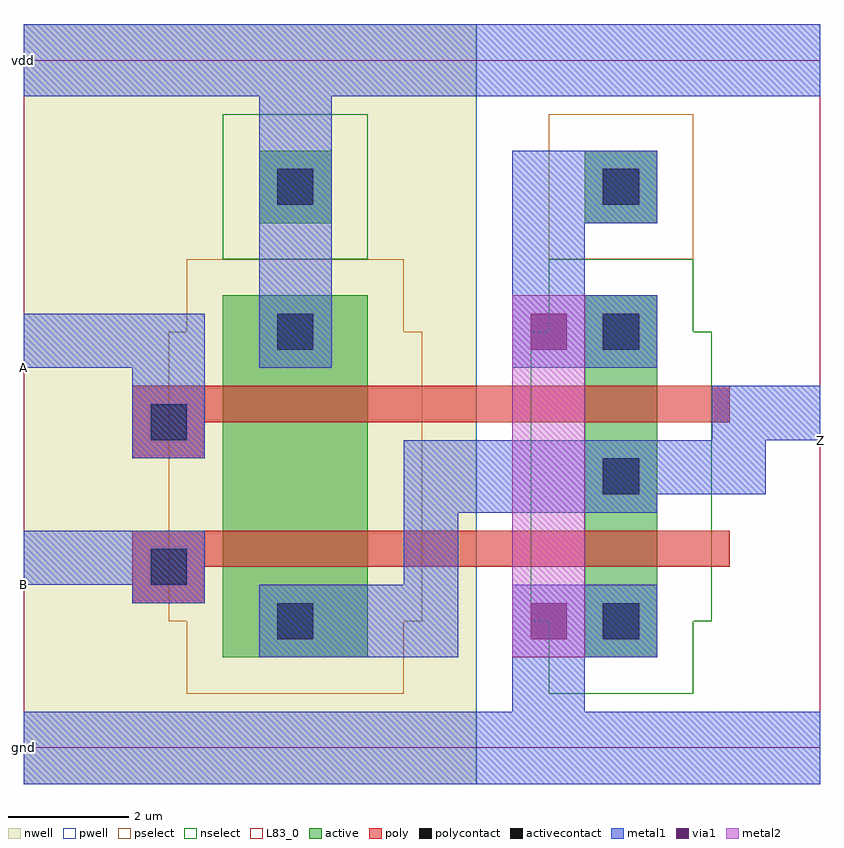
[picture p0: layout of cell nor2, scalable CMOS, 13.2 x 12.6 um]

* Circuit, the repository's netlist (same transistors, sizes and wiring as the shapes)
.SUBCKT nor2 A B Z vdd gnd
M1 gnd A Z gnd n w=1.2u l=0.6u 
M2 Z B gnd gnd n w=1.2u l=0.6u 
M3 vdd A net1 vdd p w=2.4u l=0.6u 
M4 net1 B Z vdd p w=2.4u l=0.6u 
.ENDS nor2

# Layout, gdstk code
import gdstk
lib = gdstk.Library(unit=1e-6, precision=1e-09)
def R(c, l, rs):  # rectangles x0, y0, x1, y1
    for r in rs: c.add(gdstk.rectangle(r[:2], r[2:], *l))
def A(c, l, x, y, w, h, nx, ny, dx, dy):  # array of equal rectangles
    R(c, l, [(x+i*dx, y+j*dy, x+i*dx+w, y+j*dy+h) for i in range(nx) for j in range(ny)])
pwell = (41, 0)
nwell = (42, 0)
active = (43, 0)
pselect = (44, 0)
nselect = (45, 0)
poly = (46, 0)
polycontact = (47, 0)
activecontact = (48, 0)
metal1 = (49, 0)
via1 = (50, 0)
metal2 = (51, 0)
L83_0 = (83, 0)

nor2 = lib.new_cell('nor2')
R(nor2, pwell, [(7.5,-0.6,13.2,12)])
R(nor2, nwell, [(0,-0.6,7.5,12)])
R(nor2, active, [(3.3,1.5,5.7,7.5), (9.3,1.5,10.5,7.5), (3.9,8.7,5.1,9.9), (9.3,8.7,10.5,9.9)])
R(nor2, pselect, [(2.7,0.9,6.3,2.1), (2.4,2.1,6.6,6.9), (2.7,6.9,6.3,8.1), (8.7,8.1,11.1,10.5)])
R(nor2, nselect, [(8.7,0.9,11.1,2.1), (8.4,2.1,11.4,6.9), (8.7,6.9,11.1,8.1), (3.3,8.1,5.7,10.5)])
R(nor2, poly, [(1.8,2.4,3,3), (1.8,3,11.7,3.6), (1.8,4.8,3,5.4), (1.8,5.4,11.7,6)])
R(nor2, polycontact, [(2.1,2.7,2.7,3.3), (2.1,5.1,2.7,5.7)])
A(nor2, activecontact, 9.6, 1.8, 0.6, 0.6, 1, 4, 0, 2.4)
R(nor2, activecontact, [(4.2,1.8,4.8,2.4), (4.2,6.6,4.8,7.2), (4.2,9,4.8,9.6)])
R(nor2, metal1, [(0,-0.6,13.2,0.6), (8.1,0.6,9.3,1.5), (3.9,1.5,7.2,2.7), (8.1,1.5,10.5,2.7), (1.8,2.4,3,2.7), (0,2.7,3,3.6), (6.3,2.7,7.2,3.9), (6.3,3.9,10.5,4.2), (6.3,4.2,12.3,5.1), (1.8,4.8,3,6.3), (11.4,5.1,13.2,6), (0,6.3,3,7.2), (3.9,6.3,5.1,10.8), (8.1,6.3,10.5,7.5), (8.1,7.5,9.3,8.7), (8.1,8.7,10.5,9.9), (0,10.8,13.2,12)])
R(nor2, via1, [(8.4,1.8,9,2.4), (8.4,6.6,9,7.2)])
R(nor2, metal2, [(8.1,1.5,9.3,7.5)])
R(nor2, L83_0, [(0,0,13.2,11.4)])
nor2.add(gdstk.Label('Z', (13.2,5.1), layer=49, texttype=0))
nor2.add(gdstk.Label('B', (0,2.7), layer=49, texttype=0))
nor2.add(gdstk.Label('A', (0,6.3), layer=49, texttype=0))
nor2.add(gdstk.Label('vdd', (0,11.4), layer=49, texttype=0))
nor2.add(gdstk.Label('gnd', (0,0), layer=49, texttype=0))

lib.write_gds('nor2.gds')
